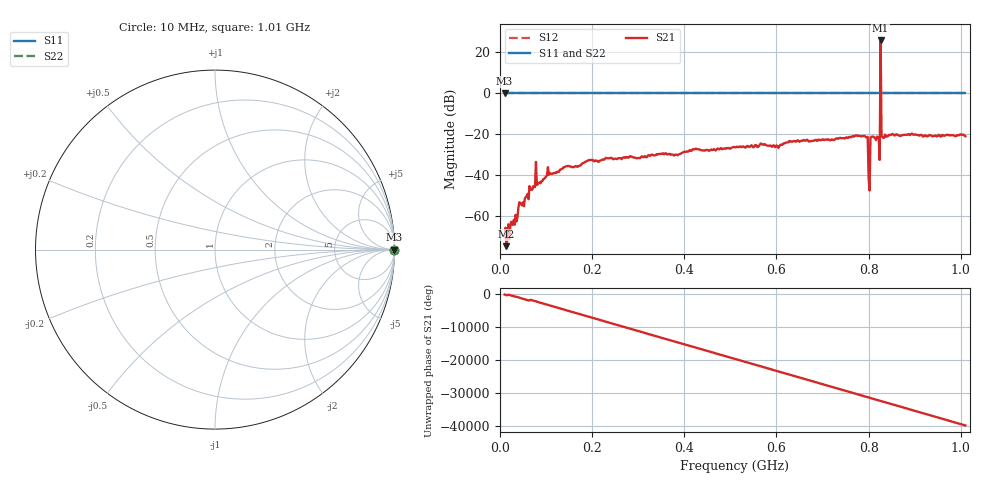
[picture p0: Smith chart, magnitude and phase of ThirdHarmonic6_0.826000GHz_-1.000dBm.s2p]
! 8/16/2025 3:26:48 AM
! C:\ANRITSUVNA\TEMP\TEMP.S2P
! CHANNEL.1
! TR.MEASUREMENT
! RAW.DATA
! RF.CORRECTION.OFF
! AVERAGING.OFF
! IF.BANDWIDTH: 5KHZ
! SWEEPTYPE:  FREQ.SWEEP(Linear)
! Reference Plane Port Info
! PORT:  PORT1  PORT2
! DISTANCE:  0  m  0  m
! TIME:  0  s  0  s
! PHASE.OFFSET:  0  deg.  0  deg.
! LOSS:  0  dB  0  dB
! REF.LOSS:  0  dB  0  dB
! REF.FREQ:  0  Hz  0  Hz
! Power Info
! POWER:  -20  dBm  -20  dBm
! EFF.POWER:  -20  dBm  -20  dBm
! SOURCE.ATTEN:  0  dB  0  dB
! TEST.ATTEN:  0  dB  0  dB
# GHZ S RI R 50.0
! FREQ.GHZ  S11RE  S11IM  S21RE  S21IM  S12RE  S12IM  S22RE  S22IM
!; PortSelection: Port_12
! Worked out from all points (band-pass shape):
!   501 points, 10 MHz to 1.01 GHz, reference 50 ohm
!   highest |S21| = 25.87 dB at 826 MHz (marker M1); lowest = -74.7 dB at 14 MHz (marker M2)
!   |S21| within 3 dB of the highest: 825.8973 MHz to 826.1289 MHz (231.6 kHz wide, 0.028 % of centre)
!   lowest |S11| = 0.0 dB at 10 MHz (marker M3)
!   |S11| at or under -10 dB: nowhere
!   |S22| runs from 0.0 to 0.0 dB; largest |S21 - S12| = 19
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0.01  1 0  -0.000277 -0.00015  1 0  1 0
0.014  1 0  0.000163 -8.28e-05  1 0  1 0
0.018  1 0  -0.000598 0.00019  1 0  1 0
0.034  1 0  0.00039 -0.001  1 0  1 0
0.044  1 0  -0.00139 -0.00156  1 0  1 0
0.076  1 0  0.00506 0.000451  1 0  1 0
0.178  1 0  -0.019 -0.00234  1 0  1 0
0.344  1 0  0.0296 -0.014  1 0  1 0
0.51  1 0  -0.0362 0.0312  1 0  1 0
0.678  1 0  -0.0569 -0.0389  1 0  1 0
0.794  1 0  -0.0765 -0.037  1 0  1 0
0.798  1 0  0.0564 0.0655  1 0  1 0
0.8  1 0  0.00819 0.00236  1 0  1 0
0.804  1 0  -0.0777 0.0241  1 0  1 0
0.808  1 0  0.0875 0.00279  1 0  1 0
0.82  1 0  -0.042 -0.074  1 0  1 0
0.822  1 0  -0.0796 0.0289  1 0  1 0
0.826  1 0  18.2 7.447  1 0  1 0
0.83  1 0  -0.0827 -0.0221  1 0  1 0
0.832  1 0  -0.0358 0.073  1 0  1 0
0.844  1 0  0.0963 -0.00405  1 0  1 0
1.01  1 0  -0.0615 0.0651  1 0  1 0
